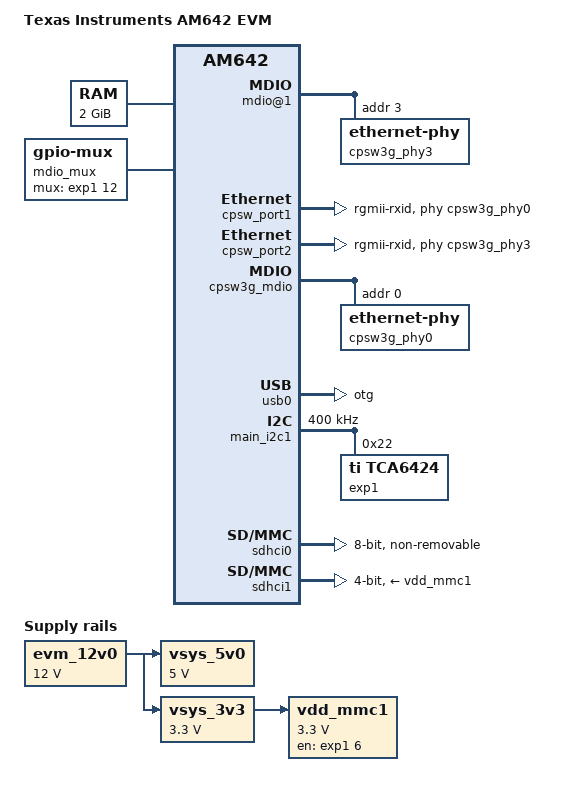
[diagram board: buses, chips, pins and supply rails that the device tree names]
// SPDX-License-Identifier: GPL-2.0
/*
 * Copyright (C) 2020 Texas Instruments Incorporated - https://www.ti.com/
 */

/dts-v1/;

#include <dt-bindings/gpio/gpio.h>
#include <dt-bindings/net/ti-dp83867.h>
#include "k3-am642.dtsi"

/ {
	compatible =  "ti,am642-evm", "ti,am642";
	model = "Texas Instruments AM642 EVM";

	chosen {
		stdout-path = "serial2:115200n8";
		bootargs = "console=ttyS2,115200n8 earlycon=ns16550a,mmio32,0x02800000";
	};

	memory@80000000 {
		device_type = "memory";
		/* 2G RAM */
		reg = <0x00000000 0x80000000 0x00000000 0x80000000>;

	};

	reserved-memory {
		#address-cells = <2>;
		#size-cells = <2>;
		ranges;

		secure_ddr: optee@9e800000 {
			reg = <0x00 0x9e800000 0x00 0x01800000>; /* for OP-TEE */
			alignment = <0x1000>;
			no-map;
		};

		main_r5fss0_core0_dma_memory_region: r5f-dma-memory@a0000000 {
			compatible = "shared-dma-pool";
			reg = <0x00 0xa0000000 0x00 0x100000>;
			no-map;
		};

		main_r5fss0_core0_memory_region: r5f-memory@a0100000 {
			compatible = "shared-dma-pool";
			reg = <0x00 0xa0100000 0x00 0xf00000>;
			no-map;
		};

		main_r5fss0_core1_dma_memory_region: r5f-dma-memory@a1000000 {
			compatible = "shared-dma-pool";
			reg = <0x00 0xa1000000 0x00 0x100000>;
			no-map;
		};

		main_r5fss0_core1_memory_region: r5f-memory@a1100000 {
			compatible = "shared-dma-pool";
			reg = <0x00 0xa1100000 0x00 0xf00000>;
			no-map;
		};

		main_r5fss1_core0_dma_memory_region: r5f-dma-memory@a2000000 {
			compatible = "shared-dma-pool";
			reg = <0x00 0xa2000000 0x00 0x100000>;
			no-map;
		};

		main_r5fss1_core0_memory_region: r5f-memory@a2100000 {
			compatible = "shared-dma-pool";
			reg = <0x00 0xa2100000 0x00 0xf00000>;
			no-map;
		};

		main_r5fss1_core1_dma_memory_region: r5f-dma-memory@a3000000 {
			compatible = "shared-dma-pool";
			reg = <0x00 0xa3000000 0x00 0x100000>;
			no-map;
		};

		main_r5fss1_core1_memory_region: r5f-memory@a3100000 {
			compatible = "shared-dma-pool";
			reg = <0x00 0xa3100000 0x00 0xf00000>;
			no-map;
		};

		rtos_ipc_memory_region: ipc-memories@a5000000 {
			reg = <0x00 0xa5000000 0x00 0x00800000>;
			alignment = <0x1000>;
			no-map;
		};
	};

	mdio_mux: mux-controller {
		compatible = "gpio-mux";
		#mux-control-cells = <0>;

		mux-gpios = <&exp1 12 GPIO_ACTIVE_HIGH>;
	};

	mdio-mux-1 {
		compatible = "mdio-mux-multiplexer";
		mux-controls = <&mdio_mux>;
		mdio-parent-bus = <&cpsw3g_mdio>;
		#address-cells = <1>;
		#size-cells = <0>;

		mdio@1 {
			reg = <0x1>;
			#address-cells = <1>;
			#size-cells = <0>;

			cpsw3g_phy3: ethernet-phy@3 {
				reg = <3>;
			};
		};
	};

	evm_12v0: fixedregulator-evm12v0 {
		/* main DC jack */
		compatible = "regulator-fixed";
		regulator-name = "evm_12v0";
		regulator-min-microvolt = <12000000>;
		regulator-max-microvolt = <12000000>;
		regulator-always-on;
		regulator-boot-on;
	};

	vsys_5v0: fixedregulator-vsys5v0 {
		/* output of LM5140 */
		compatible = "regulator-fixed";
		regulator-name = "vsys_5v0";
		regulator-min-microvolt = <5000000>;
		regulator-max-microvolt = <5000000>;
		vin-supply = <&evm_12v0>;
		regulator-always-on;
		regulator-boot-on;
	};

	vsys_3v3: fixedregulator-vsys3v3 {
		/* output of LM5140 */
		compatible = "regulator-fixed";
		regulator-name = "vsys_3v3";
		regulator-min-microvolt = <3300000>;
		regulator-max-microvolt = <3300000>;
		vin-supply = <&evm_12v0>;
		regulator-always-on;
		regulator-boot-on;
	};

	vdd_mmc1: fixed-regulator-sd {
		/* TPS2051BD */
		compatible = "regulator-fixed";
		regulator-name = "vdd_mmc1";
		regulator-min-microvolt = <3300000>;
		regulator-max-microvolt = <3300000>;
		regulator-boot-on;
		enable-active-high;
		vin-supply = <&vsys_3v3>;
		gpio = <&exp1 6 GPIO_ACTIVE_HIGH>;
	};
};

&main_uart1 {
	status = "disabled";
};

&main_uart2 {
	status = "disabled";
};

&main_uart3 {
	status = "disabled";
};

&main_uart4 {
	status = "disabled";
};

&main_uart5 {
	status = "disabled";
};

&main_uart6 {
	status = "disabled";
};

&mailbox0_cluster2 {
	mbox_main_r5fss0_core0: mbox-main-r5fss0-core0 {
		ti,mbox-rx = <0 0 2>;
		ti,mbox-tx = <1 0 2>;
	};

	mbox_main_r5fss0_core1: mbox-main-r5fss0-core1 {
		ti,mbox-rx = <2 0 2>;
		ti,mbox-tx = <3 0 2>;
	};
};

&mailbox0_cluster3 {
	status = "disabled";
};

&mailbox0_cluster4 {
	mbox_main_r5fss1_core0: mbox-main-r5fss1-core0 {
		ti,mbox-rx = <0 0 2>;
		ti,mbox-tx = <1 0 2>;
	};

	mbox_main_r5fss1_core1: mbox-main-r5fss1-core1 {
		ti,mbox-rx = <2 0 2>;
		ti,mbox-tx = <3 0 2>;
	};
};

&mailbox0_cluster5 {
	status = "disabled";
};

&mailbox0_cluster6 {
	mbox_m4_0: mbox-m4-0 {
		ti,mbox-rx = <0 0 2>;
		ti,mbox-tx = <1 0 2>;
	};
};

&mailbox0_cluster7 {
	status = "disabled";
};

&oc_sram {
	main_r5fss0_core0_sram: r5f-sram@40000 {
		reg = <0x40000 0x40000>;
	};

	main_r5fss0_core1_sram: r5f-sram@80000 {
		reg = <0x80000 0x40000>;
	};

	main_r5fss1_core0_sram: r5f-sram@c0000 {
		reg = <0xc0000 0x40000>;
	};

	main_r5fss1_core1_sram: r5f-sram@100000 {
		reg = <0x100000 0x40000>;
	};
};

&main_r5fss0_core0 {
	mboxes = <&mailbox0_cluster2 &mbox_main_r5fss0_core0>;
	memory-region = <&main_r5fss0_core0_dma_memory_region>,
			<&main_r5fss0_core0_memory_region>;
	sram = <&main_r5fss0_core0_sram>;
};

&main_r5fss0_core1 {
	mboxes = <&mailbox0_cluster2 &mbox_main_r5fss0_core1>;
	memory-region = <&main_r5fss0_core1_dma_memory_region>,
			<&main_r5fss0_core1_memory_region>;
	sram = <&main_r5fss0_core1_sram>;
};

&main_r5fss1_core0 {
	mboxes = <&mailbox0_cluster4 &mbox_main_r5fss1_core0>;
	memory-region = <&main_r5fss1_core0_dma_memory_region>,
			<&main_r5fss1_core0_memory_region>;
	sram = <&main_r5fss1_core0_sram>;
};

&main_r5fss1_core1 {
	mboxes = <&mailbox0_cluster4 &mbox_main_r5fss1_core1>;
	memory-region = <&main_r5fss1_core1_dma_memory_region>,
			<&main_r5fss1_core1_memory_region>;
	sram = <&main_r5fss1_core1_sram>;
};

&main_pmx0 {
	main_mmc1_pins_default: main_mmc1_pins_default {
		pinctrl-single,pins = <
			AM64X_IOPAD(0x0294, PIN_INPUT, 0) /* (J19) MMC1_CMD */
			AM64X_IOPAD(0x0290, PIN_INPUT, 0) /* (#N/A) MMC1_CLKLB */
			AM64X_IOPAD(0x028c, PIN_INPUT, 0) /* (L20) MMC1_CLK */
			AM64X_IOPAD(0x0288, PIN_INPUT, 0) /* (K21) MMC1_DAT0 */
			AM64X_IOPAD(0x0284, PIN_INPUT, 0) /* (L21) MMC1_DAT1 */
			AM64X_IOPAD(0x0280, PIN_INPUT, 0) /* (K19) MMC1_DAT2 */
			AM64X_IOPAD(0x027c, PIN_INPUT, 0) /* (K18) MMC1_DAT3 */
			AM64X_IOPAD(0x0298, PIN_INPUT, 0) /* (D19) MMC1_SDCD */
		>;
	};

	mdio1_pins_default: mdio1-pins-default {
		pinctrl-single,pins = <
			AM64X_IOPAD(0x01fc, PIN_OUTPUT, 4) /* (R2) PRG0_PRU1_GPO19.MDIO0_MDC */
			AM64X_IOPAD(0x01f8, PIN_INPUT, 4) /* (P5) PRG0_PRU1_GPO18.MDIO0_MDIO */
		>;
	};

	rgmii1_pins_default: rgmii1-pins-default {
		pinctrl-single,pins = <
			AM64X_IOPAD(0x01cc, PIN_INPUT, 4) /* (W5) PRG0_PRU1_GPO7.RGMII1_RD0 */
			AM64X_IOPAD(0x01d4, PIN_INPUT, 4) /* (Y5) PRG0_PRU1_GPO9.RGMII1_RD1 */
			AM64X_IOPAD(0x01d8, PIN_INPUT, 4) /* (V6) PRG0_PRU1_GPO10.RGMII1_RD2 */
			AM64X_IOPAD(0x01f4, PIN_INPUT, 4) /* (V5) PRG0_PRU1_GPO17.RGMII1_RD3 */
			AM64X_IOPAD(0x0188, PIN_INPUT, 4) /* (AA5) PRG0_PRU0_GPO10.RGMII1_RXC */
			AM64X_IOPAD(0x0184, PIN_INPUT, 4) /* (W6) PRG0_PRU0_GPO9.RGMII1_RX_CTL */
			AM64X_IOPAD(0x0124, PIN_OUTPUT, 4) /* (V15) PRG1_PRU1_GPO7.RGMII1_TD0 */
			AM64X_IOPAD(0x012c, PIN_OUTPUT, 4) /* (V14) PRG1_PRU1_GPO9.RGMII1_TD1 */
			AM64X_IOPAD(0x0130, PIN_OUTPUT, 4) /* (W14) PRG1_PRU1_GPO10.RGMII1_TD2 */
			AM64X_IOPAD(0x014c, PIN_OUTPUT, 4) /* (AA14) PRG1_PRU1_GPO17.RGMII1_TD3 */
			AM64X_IOPAD(0x00e0, PIN_OUTPUT, 4) /* (U14) PRG1_PRU0_GPO10.RGMII1_TXC */
			AM64X_IOPAD(0x00dc, PIN_OUTPUT, 4) /* (U15) PRG1_PRU0_GPO9.RGMII1_TX_CTL */
		>;
	};

	main_usb0_pins_default: main-usb0-pins-default {
		pinctrl-single,pins = <
			AM64X_IOPAD(0x02a8, PIN_OUTPUT, 0) /* (E19) USB0_DRVVBUS */
		>;
	};

	main_i2c1_pins_default: main-i2c1-pins-default {
		pinctrl-single,pins = <
			AM64X_IOPAD(0x0268, PIN_INPUT_PULLUP, 0) /* (C18) I2C1_SCL */
			AM64X_IOPAD(0x026c, PIN_INPUT_PULLUP, 0) /* (B19) I2C1_SDA */
		>;
	};

       rgmii2_pins_default: rgmii2-pins-default {
		pinctrl-single,pins = <
			AM64X_IOPAD(0x0108, PIN_INPUT, 4) /* (W11) PRG1_PRU1_GPO0.RGMII2_RD0 */
			AM64X_IOPAD(0x010c, PIN_INPUT, 4) /* (V11) PRG1_PRU1_GPO1.RGMII2_RD1 */
			AM64X_IOPAD(0x0110, PIN_INPUT, 4) /* (AA12) PRG1_PRU1_GPO2.RGMII2_RD2 */
			AM64X_IOPAD(0x0114, PIN_INPUT, 4) /* (Y12) PRG1_PRU1_GPO3.RGMII2_RD3 */
			AM64X_IOPAD(0x0120, PIN_INPUT, 4) /* (U11) PRG1_PRU1_GPO6.RGMII2_RXC */
			AM64X_IOPAD(0x0118, PIN_INPUT, 4) /* (W12) PRG1_PRU1_GPO4.RGMII2_RX_CTL */
			AM64X_IOPAD(0x0134, PIN_OUTPUT, 4) /* (AA10) PRG1_PRU1_GPO11.RGMII2_TD0 */
			AM64X_IOPAD(0x0138, PIN_OUTPUT, 4) /* (V10) PRG1_PRU1_GPO12.RGMII2_TD1 */
			AM64X_IOPAD(0x013c, PIN_OUTPUT, 4) /* (U10) PRG1_PRU1_GPO13.RGMII2_TD2 */
			AM64X_IOPAD(0x0140, PIN_OUTPUT, 4) /* (AA11) PRG1_PRU1_GPO14.RGMII2_TD3 */
			AM64X_IOPAD(0x0148, PIN_OUTPUT, 4) /* (Y10) PRG1_PRU1_GPO16.RGMII2_TXC */
			AM64X_IOPAD(0x0144, PIN_OUTPUT, 4) /* (Y11) PRG1_PRU1_GPO15.RGMII2_TX_CTL */
		>;
	};
};

&cpsw3g {
	pinctrl-names = "default";
	pinctrl-0 = <&mdio1_pins_default
		     &rgmii1_pins_default
		     &rgmii2_pins_default>;
};

&cpsw_port1 {
	phy-mode = "rgmii-rxid";
	phy-handle = <&cpsw3g_phy0>;
};

&cpsw_port2 {
	phy-mode = "rgmii-rxid";
	phy-handle = <&cpsw3g_phy3>;
};

&cpsw3g_mdio {
	cpsw3g_phy0: ethernet-phy@0 {
		reg = <0>;
		ti,rx-internal-delay = <DP83867_RGMIIDCTL_2_00_NS>;
		ti,fifo-depth = <DP83867_PHYCR_FIFO_DEPTH_4_B_NIB>;
	};
};

&usbss0 {
	ti,vbus-divider;
	ti,usb2-only;
};

&usb0 {
	dr_mode = "otg";
	maximum-speed = "high-speed";
	pinctrl-names = "default";
	pinctrl-0 = <&main_usb0_pins_default>;
};

&main_i2c1 {
	pinctrl-names = "default";
	pinctrl-0 = <&main_i2c1_pins_default>;
	clock-frequency = <400000>;

	exp1: gpio@22 {
		compatible = "ti,tca6424";
		reg = <0x22>;
		gpio-controller;
		#gpio-cells = <2>;
	};

};

&sdhci0 {
	/* eMMC */
	bus-width = <8>;
	non-removable;
	ti,driver-strength-ohm = <50>;
	disable-wp;
};

&sdhci1 {
	/* SD/MMC */
	vmmc-supply = <&vdd_mmc1>;
	pinctrl-names = "default";
	bus-width = <4>;
	pinctrl-0 = <&main_mmc1_pins_default>;
	ti,driver-strength-ohm = <50>;
	disable-wp;
};
